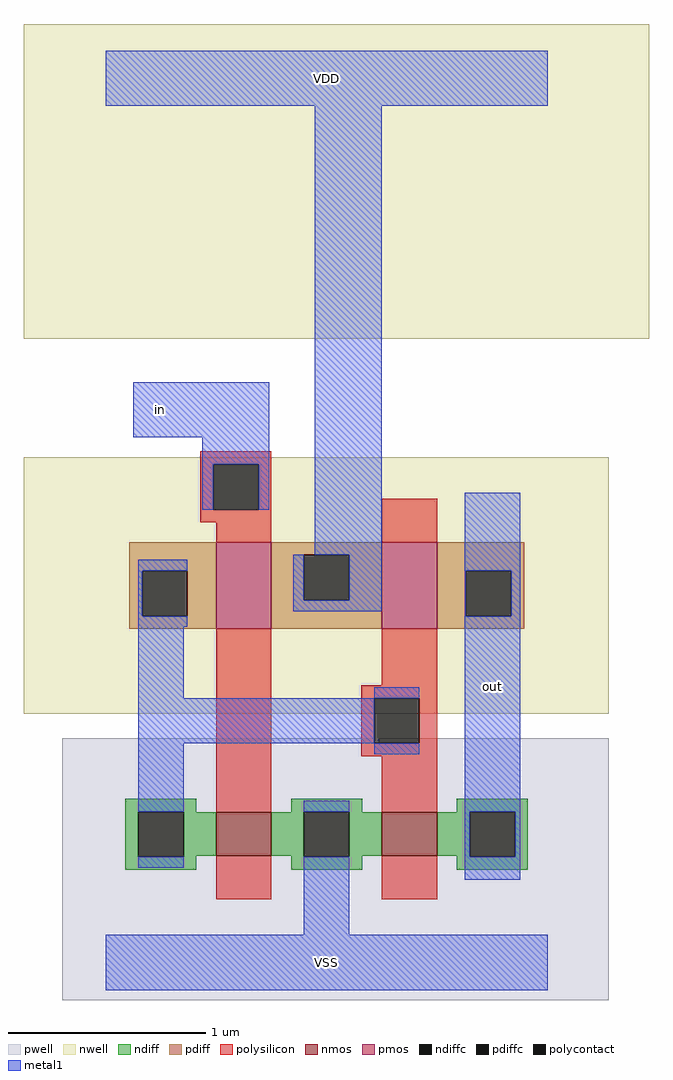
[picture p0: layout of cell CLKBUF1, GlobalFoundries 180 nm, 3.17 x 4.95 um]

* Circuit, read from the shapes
.subckt CLKBUF1 VSS out VDD in
XM1 VSS in n1 VSUBS nfet_03v3 w=0.22u l=0.28u
XM2 out n1 VSS VSUBS nfet_03v3 w=0.22u l=0.28u
XM3 VDD in n1 n2 pfet_03v3 w=0.44u l=0.28u
XM4 out n1 VDD n2 pfet_03v3 w=0.44u l=0.28u
.ends

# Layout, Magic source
magic
tech gf180mcuD
magscale 1 10
<< nwell >>
rect -83 632 551 951
rect -83 252 510 512
<< pwell >>
rect -44 222 272 227
rect 277 222 510 227
rect -44 -38 510 222
<< nmos >>
rect 112 108 168 152
rect 280 108 336 152
<< pmos >>
rect 112 338 168 426
rect 280 338 336 426
<< ndiff >>
rect 20 153 92 166
rect 20 107 33 153
rect 79 152 92 153
rect 188 153 260 166
rect 188 152 201 153
rect 79 108 112 152
rect 168 108 201 152
rect 79 107 92 108
rect 20 94 92 107
rect 188 107 201 108
rect 247 152 260 153
rect 356 153 428 166
rect 356 152 369 153
rect 247 108 280 152
rect 336 108 369 152
rect 247 107 260 108
rect 188 94 260 107
rect 356 107 369 108
rect 415 107 428 153
rect 356 94 428 107
<< pdiff >>
rect 24 397 112 426
rect 24 351 37 397
rect 83 351 112 397
rect 24 338 112 351
rect 168 413 280 426
rect 168 367 201 413
rect 247 367 280 413
rect 168 338 280 367
rect 336 397 424 426
rect 336 351 365 397
rect 411 351 424 397
rect 336 338 424 351
<< ndiffc >>
rect 33 107 79 153
rect 201 107 247 153
rect 369 107 415 153
<< pdiffc >>
rect 37 351 83 397
rect 201 367 247 413
rect 365 351 411 397
<< polysilicon >>
rect 96 505 168 518
rect 96 459 109 505
rect 155 459 168 505
rect 96 446 168 459
rect 112 426 168 446
rect 280 426 336 470
rect 112 152 168 338
rect 280 281 336 338
rect 259 268 336 281
rect 259 222 272 268
rect 318 222 336 268
rect 259 209 336 222
rect 112 64 168 108
rect 280 152 336 209
rect 280 64 336 108
<< polycontact >>
rect 109 459 155 505
rect 272 222 318 268
<< metal1 >>
rect 0 868 448 924
rect 28 532 166 588
rect 98 505 166 532
rect 98 459 109 505
rect 155 459 166 505
rect 212 413 280 868
rect 33 397 83 408
rect 33 351 37 397
rect 190 367 201 413
rect 247 367 280 413
rect 190 356 280 367
rect 364 397 420 476
rect 33 340 83 351
rect 364 351 365 397
rect 411 351 420 397
rect 33 268 79 340
rect 272 268 318 279
rect 33 222 272 268
rect 33 153 79 222
rect 272 211 318 222
rect 33 96 79 107
rect 201 153 247 164
rect 201 28 247 107
rect 364 153 420 351
rect 364 107 369 153
rect 415 107 420 153
rect 364 84 420 107
rect 0 -28 448 28
<< labels >>
rlabel metal1 0 -28 448 28 0 VSS
port 1 nsew ground bidirectional
rlabel metal1 364 84 420 476 0 out
port 2 nsew clock output
rlabel metal1 0 868 448 924 0 VDD
port 3 nsew power bidirectional
rlabel metal1 28 532 84 588 0 in
port 4 nsew clock input
<< properties >>
string fixed_BBOX 0 0 448 896
string LEF class
string LEFclass core
string LEFsite site056um
<< end >>
